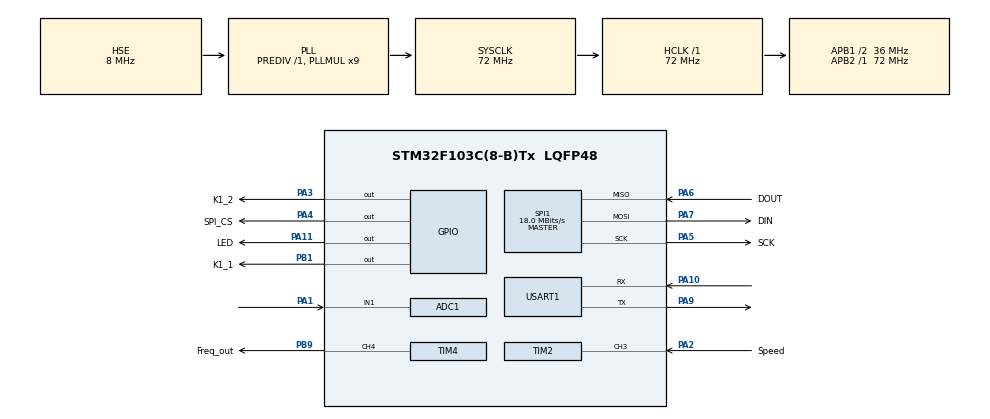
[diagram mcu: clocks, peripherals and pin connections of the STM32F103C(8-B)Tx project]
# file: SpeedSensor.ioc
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ADC1.Channel-1\#ChannelRegularConversion=ADC_CHANNEL_1
ADC1.NbrOfConversionFlag=1
ADC1.Rank-1\#ChannelRegularConversion=1
ADC1.SamplingTime-1\#ChannelRegularConversion=ADC_SAMPLETIME_1CYCLE_5
ADC1.master=1
FREERTOS.Tasks01=Freq_outTask,0,128,StartFreq_outTask,Default,NULL,Dynamic,NULL,NULL;Current_outTask,0,128,StartCurrent_outTask,Default,NULL,Dynamic,NULL,NULL;Freq_ICTask,1,128,StartFreq_ICTask,Default,NULL,Dynamic,NULL,NULL;ADCTask,0,128,StartADCTask,Default,NULL,Dynamic,NULL,NULL
Mcu.Family=STM32F1
Mcu.Name=STM32F103C(8-B)Tx
Mcu.Package=LQFP48
NVIC.PriorityGroup=NVIC_PRIORITYGROUP_4
NVIC.SPI1_IRQn=true\:5\:0\:false\:false\:true\:true\:true\:true\:true
NVIC.TIM1_UP_IRQn=true\:15\:0\:false\:false\:true\:false\:false\:true\:true
NVIC.TIM2_IRQn=true\:5\:0\:false\:false\:true\:true\:true\:true\:true
NVIC.TIM3_IRQn=true\:5\:0\:false\:false\:true\:true\:true\:true\:true
NVIC.TIM4_IRQn=true\:5\:0\:false\:false\:true\:true\:true\:true\:true
NVIC.TimeBase=TIM1_UP_IRQn
NVIC.TimeBaseIP=TIM1
NVIC.USART1_IRQn=true\:5\:0\:false\:false\:true\:true\:true\:true\:true
PA1.Signal=ADCx_IN1
PA10.Mode=Asynchronous
PA10.Signal=USART1_RX
PA11.GPIO_Label=LED
PA11.GPIO_Speed=GPIO_SPEED_FREQ_HIGH
PA11.PinState=GPIO_PIN_SET
PA11.Signal=GPIO_Output
PA13.Mode=Serial_Wire
PA13.Signal=SYS_JTMS-SWDIO
PA14.Mode=Serial_Wire
PA14.Signal=SYS_JTCK-SWCLK
PA2.GPIO_Label=Speed
PA2.GPIO_Speed=GPIO_SPEED_FREQ_HIGH
PA2.Signal=S_TIM2_CH3
PA3.GPIO_Label=K1_2
PA3.GPIO_Speed=GPIO_SPEED_FREQ_HIGH
PA3.PinState=GPIO_PIN_SET
PA3.Signal=GPIO_Output
PA4.GPIO_Label=SPI_CS
PA4.GPIO_Speed=GPIO_SPEED_FREQ_HIGH
PA4.PinState=GPIO_PIN_SET
PA4.Signal=GPIO_Output
PA5.GPIO_Label=SCK
PA5.Mode=Full_Duplex_Master
PA5.Signal=SPI1_SCK
PA6.GPIO_Label=DOUT
PA6.Mode=Full_Duplex_Master
PA6.Signal=SPI1_MISO
PA7.GPIO_Label=DIN
PA7.Mode=Full_Duplex_Master
PA7.Signal=SPI1_MOSI
PA9.Mode=Asynchronous
PA9.Signal=USART1_TX
PB1.GPIO_Label=K1_1
PB1.GPIO_Speed=GPIO_SPEED_FREQ_HIGH
PB1.PinState=GPIO_PIN_SET
PB1.Signal=GPIO_Output
PB9.GPIO_Label=Freq_out
PB9.GPIO_Speed=GPIO_SPEED_FREQ_HIGH
PB9.Signal=S_TIM4_CH4
PD0-OSC_IN.Mode=HSE-External-Oscillator
PD0-OSC_IN.Signal=RCC_OSC_IN
PD1-OSC_OUT.Mode=HSE-External-Oscillator
PD1-OSC_OUT.Signal=RCC_OSC_OUT
ProjectManager.HeapSize=0x200
ProjectManager.StackSize=0x400
ProjectManager.TargetToolchain=MDK-ARM V5.32
RCC.ADCPresc=RCC_ADCPCLK2_DIV6
RCC.AHBFreq_Value=72000000
RCC.APB1CLKDivider=RCC_HCLK_DIV2
RCC.APB1Freq_Value=36000000
RCC.APB1TimFreq_Value=72000000
RCC.APB2Freq_Value=72000000
RCC.APB2TimFreq_Value=72000000
RCC.HCLKFreq_Value=72000000
RCC.PLLMUL=RCC_PLL_MUL9
RCC.PLLSourceVirtual=RCC_PLLSOURCE_HSE
RCC.SYSCLKFreq_VALUE=72000000
RCC.SYSCLKSource=RCC_SYSCLKSOURCE_PLLCLK
RCC.USBFreq_Value=72000000
SH.ADCx_IN1.0=ADC1_IN1,IN1
SH.S_TIM2_CH3.0=TIM2_CH3,Input_Capture3_from_TI3
SH.S_TIM4_CH4.0=TIM4_CH4,PWM Generation4 CH4
SPI1.BaudRatePrescaler=SPI_BAUDRATEPRESCALER_4
SPI1.CLKPhase=SPI_PHASE_2EDGE
SPI1.CalculateBaudRate=18.0 MBits/s
SPI1.Direction=SPI_DIRECTION_2LINES
SPI1.Mode=SPI_MODE_MASTER
SPI1.VirtualType=VM_MASTER
TIM2.AutoReloadPreload=TIM_AUTORELOAD_PRELOAD_ENABLE
TIM2.Channel-Input_Capture3_from_TI3=TIM_CHANNEL_3
TIM2.Period=50000-1
TIM2.Prescaler=720-1
TIM3.AutoReloadPreload=TIM_AUTORELOAD_PRELOAD_ENABLE
TIM3.Period=15000-1
TIM3.Prescaler=7200-1
TIM4.AutoReloadPreload=TIM_AUTORELOAD_PRELOAD_ENABLE
TIM4.Channel-PWM\ Generation4\ CH4=TIM_CHANNEL_4
TIM4.Period=5000-1
TIM4.Prescaler=72-1
TIM4.Pulse-PWM\ Generation4\ CH4=2500
USART1.VirtualMode=VM_ASYNC
VP_FREERTOS_VS_CMSIS_V1.Mode=CMSIS_V1
VP_SYS_VS_tim1.Mode=TIM1
VP_TIM2_VS_ClockSourceINT.Mode=Internal
VP_TIM3_VS_ClockSourceINT.Mode=Internal
VP_TIM4_VS_ClockSourceINT.Mode=Internal
board=custom

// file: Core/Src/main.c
/* USER CODE BEGIN Header */
/**
  ******************************************************************************
  * @file           : main.c
  * @brief          : Main program body
  ******************************************************************************
  * @attention
  *
  * Copyright (c) 2024 STMicroelectronics.
  * All rights reserved.
  *
  * This software is licensed under terms that can be found in the LICENSE file
  * in the root directory of this software component.
  * If no LICENSE file comes with this software, it is provided AS-IS.
  *
  ******************************************************************************
  */
/* USER CODE END Header */
#include "main.h"
#include "cmsis_os.h"
#include "adc.h"
#include "spi.h"
#include "tim.h"
#include "usart.h"
#include "gpio.h"

void SystemClock_Config(void);
void MX_FREERTOS_Init(void);

int main(void)
{

  /* MCU Configuration--------------------------------------------------------*/

  /* Reset of all peripherals, Initializes the Flash interface and the Systick. */
  HAL_Init();

  /* Configure the system clock */
  SystemClock_Config();

  /* Initialize all configured peripherals */
  MX_GPIO_Init();
  MX_ADC1_Init();
  MX_SPI1_Init();
  MX_TIM2_Init();
  MX_USART1_UART_Init();
  MX_TIM4_Init();
  MX_TIM3_Init();
  /* USER CODE BEGIN 2 */

  HAL_TIM_PWM_Start(&htim4, TIM_CHANNEL_4);
  HAL_TIM_IC_Start_IT(&htim2,TIM_CHANNEL_3);
	HAL_TIM_Base_Start_IT(&htim3);
  /* USER CODE END 2 */

  /* Call init function for freertos objects (in cmsis_os2.c) */
  MX_FREERTOS_Init();

  /* Start scheduler */
  osKernelStart();

  /* We should never get here as control is now taken by the scheduler */

  /* Infinite loop */
  while (1)
  {

  }
}

void SystemClock_Config(void)
{
  RCC_OscInitTypeDef RCC_OscInitStruct = {0};
  RCC_ClkInitTypeDef RCC_ClkInitStruct = {0};
  RCC_PeriphCLKInitTypeDef PeriphClkInit = {0};

  /** Initializes the RCC Oscillators according to the specified parameters
  * in the RCC_OscInitTypeDef structure.
  */
  RCC_OscInitStruct.OscillatorType = RCC_OSCILLATORTYPE_HSE;
  RCC_OscInitStruct.HSEState = RCC_HSE_ON;
  RCC_OscInitStruct.HSEPredivValue = RCC_HSE_PREDIV_DIV1;
  RCC_OscInitStruct.HSIState = RCC_HSI_ON;
  RCC_OscInitStruct.PLL.PLLState = RCC_PLL_ON;
  RCC_OscInitStruct.PLL.PLLSource = RCC_PLLSOURCE_HSE;
  RCC_OscInitStruct.PLL.PLLMUL = RCC_PLL_MUL9;
  if (HAL_RCC_OscConfig(&RCC_OscInitStruct) != HAL_OK)
  {
    Error_Handler();
  }

  /** Initializes the CPU, AHB and APB buses clocks
  */
  RCC_ClkInitStruct.ClockType = RCC_CLOCKTYPE_HCLK|RCC_CLOCKTYPE_SYSCLK
                              |RCC_CLOCKTYPE_PCLK1|RCC_CLOCKTYPE_PCLK2;
  RCC_ClkInitStruct.SYSCLKSource = RCC_SYSCLKSOURCE_PLLCLK;
  RCC_ClkInitStruct.AHBCLKDivider = RCC_SYSCLK_DIV1;
  RCC_ClkInitStruct.APB1CLKDivider = RCC_HCLK_DIV2;
  RCC_ClkInitStruct.APB2CLKDivider = RCC_HCLK_DIV1;

  if (HAL_RCC_ClockConfig(&RCC_ClkInitStruct, FLASH_LATENCY_2) != HAL_OK)
  {
    Error_Handler();
  }
  PeriphClkInit.PeriphClockSelection = RCC_PERIPHCLK_ADC;
  PeriphClkInit.AdcClockSelection = RCC_ADCPCLK2_DIV6;
  if (HAL_RCCEx_PeriphCLKConfig(&PeriphClkInit) != HAL_OK)
  {
    Error_Handler();
  }
}

//void HAL_TIM_PeriodElapsedCallback(TIM_HandleTypeDef *htim)
//{
//  /* USER CODE BEGIN Callback 0 */

//  /* USER CODE END Callback 0 */
//  if (htim->Instance == TIM1) {
//    HAL_IncTick();
//  }
//  /* USER CODE BEGIN Callback 1 */

//  /* USER CODE END Callback 1 */
//}

void Error_Handler(void)
{
  __disable_irq();
  while (1)
  {
  }
}

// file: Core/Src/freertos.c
/* USER CODE BEGIN Header */
/**
 ******************************************************************************
 * File Name          : freertos.c
 * Description        : Code for freertos applications
 ******************************************************************************
 * @attention
 *
 * Copyright (c) 2024 STMicroelectronics.
 * All rights reserved.
 *
 * This software is licensed under terms that can be found in the LICENSE file
 * in the root directory of this software component.
 * If no LICENSE file comes with this software, it is provided AS-IS.
 *
 ******************************************************************************
 */
/* USER CODE END Header */

#include "FreeRTOS.h"
#include "task.h"
#include "main.h"
#include "cmsis_os.h"

/* USER CODE BEGIN Includes */
#include "tim.h"
#include "spi.h"
#include "math.h"
/* USER CODE END Includes */

/* USER CODE BEGIN PTD */
uint16_t power_on_init = 1;
extern uint16_t Frequency;
const float DAC_COEFFICIENT = 65536.0 / 2.5;
const uint8_t DAC_DEFAULT_MODE = 0;
uint16_t Frequency_old = 0;
const uint16_t Frequency_Input_Max = 80;
uint32_t period = 0; // LTODO:测试后改回PWM_SetFrequencyDutyCycle内
/* USER CODE END PTD */

/* USER CODE BEGIN PD */
void PWM_SetFrequencyDutyCycle(uint16_t frequency);
/* USER CODE END PD */

osThreadId Freq_outTaskHandle;
osThreadId Current_outTaskHandle;
osThreadId Freq_ICTaskHandle;
osThreadId ADCTaskHandle;

void StartFreq_outTask(void const *argument);
void StartCurrent_outTask(void const *argument);
void StartFreq_ICTask(void const *argument);
void StartADCTask(void const *argument);

void MX_FREERTOS_Init(void); /* (MISRA C 2004 rule 8.1) */

/* GetIdleTaskMemory prototype (linked to static allocation support) */
void vApplicationGetIdleTaskMemory(StaticTask_t **ppxIdleTaskTCBBuffer, StackType_t **ppxIdleTaskStackBuffer, uint32_t *pulIdleTaskStackSize);

/* USER CODE BEGIN GET_IDLE_TASK_MEMORY */
static StaticTask_t xIdleTaskTCBBuffer;
static StackType_t xIdleStack[configMINIMAL_STACK_SIZE];

void vApplicationGetIdleTaskMemory(StaticTask_t **ppxIdleTaskTCBBuffer, StackType_t **ppxIdleTaskStackBuffer, uint32_t *pulIdleTaskStackSize)
{
  *ppxIdleTaskTCBBuffer = &xIdleTaskTCBBuffer;
  *ppxIdleTaskStackBuffer = &xIdleStack[0];
  *pulIdleTaskStackSize = configMINIMAL_STACK_SIZE;
  /* place for user code */
}
/* USER CODE END GET_IDLE_TASK_MEMORY */

void MX_FREERTOS_Init(void)
{

  /* Create the thread(s) */
  /* definition and creation of Freq_outTask */
  osThreadDef(Freq_outTask, StartFreq_outTask, osPriorityNormal, 0, 128);
  Freq_outTaskHandle = osThreadCreate(osThread(Freq_outTask), NULL);

  /* definition and creation of Current_outTask */
  osThreadDef(Current_outTask, StartCurrent_outTask, osPriorityNormal, 0, 128);
  Current_outTaskHandle = osThreadCreate(osThread(Current_outTask), NULL);

  /* definition and creation of Freq_ICTask */
  osThreadDef(Freq_ICTask, StartFreq_ICTask, osPriorityAboveNormal, 0, 128);
  Freq_ICTaskHandle = osThreadCreate(osThread(Freq_ICTask), NULL);

  /* definition and creation of ADCTask */
  osThreadDef(ADCTask, StartADCTask, osPriorityNormal, 0, 128);
  ADCTaskHandle = osThreadCreate(osThread(ADCTask), NULL);

}

void StartFreq_outTask(void const *argument)
{
  /* USER CODE BEGIN StartFreq_outTask */
  BaseType_t ret;
  /* Infinite loop */
  for (;;)
  {
    ret = ulTaskNotifyTake(pdFALSE, 0);
    if (ret == pdPASS)
    {
      // LTODO: 添加对应按照线性关系的频率输出
      PWM_SetFrequencyDutyCycle(Frequency_old);
    }

    osDelay(10);
  }
  /* USER CODE END StartFreq_outTask */
}

void StartCurrent_outTask(void const *argument)
{
  /* USER CODE BEGIN StartCurrent_outTask */
  BaseType_t ret;
  uint16_t DATA = 0;
  float Vout = 0;
  /* Infinite loop */
  for (;;)
  {
    ret = ulTaskNotifyTake(pdFALSE, 0);
    if (ret == pdPASS)
    {
      Vout = 0.02 * Frequency_old + 0.4;
      DATA = (uint16_t)(Vout * DAC_COEFFICIENT);
      SPI_DAC8560_Write(DAC_DEFAULT_MODE, DATA);
    }
    osDelay(10);
  }
  /* USER CODE END StartCurrent_outTask */
}

void StartFreq_ICTask(void const *argument)
{
  /* USER CODE BEGIN StartFreq_ICTask */
  uint16_t DATA = 0;
  BaseType_t ret;
  /* Infinite loop */
  for (;;)
  {
    if (power_on_init)
    {
      DATA = (uint16_t)(0.4 * DAC_COEFFICIENT); // 4mA
      SPI_DAC8560_Write(DAC_DEFAULT_MODE, DATA);
      power_on_init = 0;
    }
    ret = ulTaskNotifyTake(pdFALSE, 0);
    if (ret == pdPASS)
    {
      if (Frequency_old != Frequency)
      {
        if (Frequency > 0 && Frequency <= 80)
        {
          xTaskNotifyGive(Freq_outTaskHandle);
          xTaskNotifyGive(Current_outTaskHandle);
          Frequency_old = Frequency;
        }
        else if (Frequency == 0)
        {
          // LTODO:频率输出200Hz，电流输出4mA，即默认值
          PWM_SetFrequencyDutyCycle(0);             // 200HZ
          DATA = (uint16_t)(0.4 * DAC_COEFFICIENT); // 4mA
          SPI_DAC8560_Write(DAC_DEFAULT_MODE, DATA);
          Frequency_old = Frequency;
        }
        else if (Frequency > Frequency_Input_Max)
        {

          // HAL_TIM_PWM_Stop(&htim4, TIM_CHANNEL_4); // 关闭TIM4通道4的PWM
          // SPI_DAC8560_Write(DAC_DEFAULT_MODE, 0);
          //LXXX:超速后限定在最大值
          DATA = (uint16_t)(2 * DAC_COEFFICIENT); // 20mA
          SPI_DAC8560_Write(DAC_DEFAULT_MODE, DATA);
          PWM_SetFrequencyDutyCycle(Frequency_Input_Max);
        }
      }
    }

    osDelay(10);
  }
  /* USER CODE END StartFreq_ICTask */
}

void StartADCTask(void const *argument)
{
  /* USER CODE BEGIN StartADCTask */
  // TickType_t PreviousWakeTime;
  // PreviousWakeTime = xTaskGetTickCount(); // 获取当前的系统节拍值

  /* Infinite loop */
  for (;;)
  {
    HAL_GPIO_TogglePin(LED_GPIO_Port, LED_Pin);
//    vTaskDelayUntil(&PreviousWakeTime, pdMS_TO_TICKS(500));
		vTaskDelay(500);
    osDelay(1);
  }
  /* USER CODE END StartADCTask */
}

/* USER CODE BEGIN Application */
void PWM_SetFrequencyDutyCycle(uint16_t frequency)
{
  HAL_TIM_PWM_Stop(&htim4, TIM_CHANNEL_4); // 关闭TIM4通道4的PWM
  // 计算定时器的时钟频率

  // 计算周期值

  period = (uint32_t)round((1000000.0 / (10 * frequency + 200))) - 1;      //float->uint32_t

  // 更新定时器的预分频器和周期

  htim4.Instance->ARR = period; // 设置自动重装载寄存器（周期）

  // 设置PWM占空比
  htim4.Instance->CCR4 = (uint32_t)round(((float)(period + 1) / 2)); // 设置比较寄存器（占空比）

  // 启动PWM
  HAL_TIM_PWM_Start(&htim4, TIM_CHANNEL_4); // 启动TIM4通道4的PWM
}
/* USER CODE END Application */
